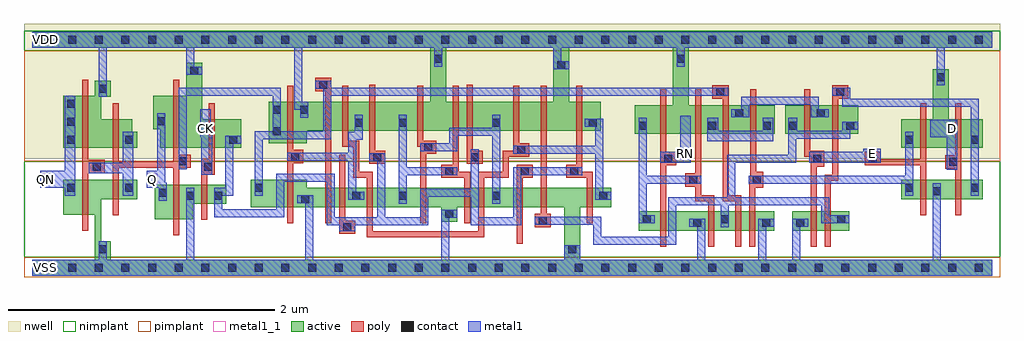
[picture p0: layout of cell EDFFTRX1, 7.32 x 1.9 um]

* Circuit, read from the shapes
.subckt EDFFTRX1 CK D E Q QN RN VDD VSS
M1 VSS n1 QN VSS nfet w=0.26u l=0.045u
M2 n1 n2 VSS VSS nfet w=0.145u l=0.045u
M3 VSS n2 Q VSS nfet w=0.26u l=0.045u
M4 n3 CK VSS VSS nfet w=0.145u l=0.045u
M5 VSS n4 n2 VSS nfet w=0.205u l=0.045u
M6 n5 n2 VSS VSS nfet w=0.145u l=0.045u
M7 n4 n3 n5 VSS nfet w=0.145u l=0.045u
M8 n6 n7 n4 VSS nfet w=0.145u l=0.045u
M9 VSS n8 n6 VSS nfet w=0.145u l=0.045u
M10 n9 n6 VSS VSS nfet w=0.145u l=0.045u
M11 n8 n7 n9 VSS nfet w=0.145u l=0.045u
M12 n10 n3 n8 VSS nfet w=0.145u l=0.045u
M13 VSS n11 n10 VSS nfet w=0.145u l=0.045u
M14 n7 n3 VSS VSS nfet w=0.145u l=0.045u
M15 VSS RN n12 VSS nfet w=0.145u l=0.045u
M16 n11 n12 VSS VSS nfet w=0.145u l=0.045u
M17 n13 n2 n11 VSS nfet w=0.145u l=0.045u
M18 VSS n14 n13 VSS nfet w=0.145u l=0.045u
M19 n15 E VSS VSS nfet w=0.145u l=0.045u
M20 n11 n16 n15 VSS nfet w=0.145u l=0.045u
M21 VSS E n14 VSS nfet w=0.145u l=0.045u
M22 n16 D VSS VSS nfet w=0.145u l=0.045u
M23 VDD n1 QN VDD pfet w=0.39u l=0.045u
M24 n1 n2 VDD VDD pfet w=0.215u l=0.045u
M25 VDD n2 Q VDD pfet w=0.39u l=0.045u
M26 n3 CK VDD VDD pfet w=0.215u l=0.045u
M27 VDD n4 n2 VDD pfet w=0.31u l=0.045u
M28 n17 n2 VDD VDD pfet w=0.215u l=0.045u
M29 n4 n7 n17 VDD pfet w=0.215u l=0.045u
M30 n6 n3 n4 VDD pfet w=0.215u l=0.045u
M31 VDD n8 n6 VDD pfet w=0.215u l=0.045u
M32 n18 n6 VDD VDD pfet w=0.215u l=0.045u
M33 n8 n3 n18 VDD pfet w=0.215u l=0.045u
M34 n19 n7 n8 VDD pfet w=0.215u l=0.045u
M35 VDD n11 n19 VDD pfet w=0.215u l=0.045u
M36 n7 n3 VDD VDD pfet w=0.215u l=0.045u
M37 VDD RN n12 VDD pfet w=0.215u l=0.045u
M38 n20 n12 VDD VDD pfet w=0.215u l=0.045u
M39 n21 n2 n20 VDD pfet w=0.215u l=0.045u
M40 n20 n14 n21 VDD pfet w=0.215u l=0.045u
M41 n21 E n11 VDD pfet w=0.215u l=0.045u
M42 n11 n16 n21 VDD pfet w=0.215u l=0.045u
M43 VDD E n14 VDD pfet w=0.215u l=0.045u
M44 n16 D VDD VDD pfet w=0.215u l=0.045u
.ends

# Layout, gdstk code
import gdstk
lib = gdstk.Library(unit=1e-6, precision=5e-10)
def R(c, l, rs):  # rectangles x0, y0, x1, y1
    for r in rs: c.add(gdstk.rectangle(r[:2], r[2:], *l))
def A(c, l, x, y, w, h, nx, ny, dx, dy):  # array of equal rectangles
    R(c, l, [(x+i*dx, y+j*dy, x+i*dx+w, y+j*dy+h) for i in range(nx) for j in range(ny)])
def P(c, l, *ps):  # polygons
    for p in ps: c.add(gdstk.Polygon(p, *l))
active = (1, 0)
nwell = (2, 0)
poly = (3, 0)
nimplant = (4, 0)
pimplant = (5, 0)
contact = (6, 0)
metal1 = (7, 0)
metal1_1 = (7, 1)

edfftrx1 = lib.new_cell('EDFFTRX1')
R(edfftrx1, active, [(4.55,0.28,5.565,0.425), (5.7,0.28,6.13,0.425), (6.52,0.515,7.13,0.66), (5.65,1.005,6.195,1.22)])
P(edfftrx1, active, [(0,1.77),(7.2,1.77),(7.2,1.65),(4.925,1.65),(4.925,1.22),(5.57,1.22),(5.57,1.005),(4.52,1.005),(4.52,1.22),(4.805,1.22),(4.805,1.65),(4.03,1.65),(4.03,1.245),(4.265,1.245),(4.265,1.03),(2.06,1.03),(2.06,0.935),(1.775,0.935),(1.775,1.245),(2.985,1.245),(2.985,1.65),(3.105,1.65),(3.105,1.245),(3.91,1.245),(3.91,1.65),(0,1.65)],
  [(0.47,1.405),(0.59,1.405),(0.59,1.285),(0.52,1.285),(0.52,1.115),(0.75,1.115),(0.75,1.02),(0.79,1.02),(0.79,0.9),(0.235,0.9),(0.235,1.29),(0.47,1.29)],
  [(1.155,1.54),(1.275,1.54),(1.275,1.115),(1.57,1.115),(1.57,0.9),(0.96,0.9),(0.96,1.04),(0.91,1.04),(0.91,1.29),(1.155,1.29)],
  [(6.755,1.49),(6.875,1.49),(6.875,1.115),(7.13,1.115),(7.13,0.9),(6.52,0.9),(6.52,1.115),(6.755,1.115)],
  [(0.235,0.66),(0.79,0.66),(0.79,0.515),(0.52,0.515),(0.52,0.2),(0.59,0.2),(0.59,0.06),(3.99,0.06),(3.99,0.455),(3.19,0.455),(3.19,0.345),(3.07,0.345),(3.07,0.455),(1.64,0.455),(1.64,0.66),(2.06,0.66),(2.06,0.6),(4.345,0.6),(4.345,0.455),(4.11,0.455),(4.11,0.06),(7.2,0.06),(7.2,-0.06),(0,-0.06),(0,0.06),(0.47,0.06),(0.47,0.4),(0.235,0.4)],
  [(0.92,0.625),(1.455,0.625),(1.455,0.48),(1.205,0.48),(1.205,0.365),(0.92,0.365)])
R(edfftrx1, nwell, [(-0.06,0.82,7.26,1.83)])
P(edfftrx1, poly, [(0.375,1.41),(0.42,1.41),(0.42,0.81),(0.545,0.81),(0.545,0.71),(0.42,0.71),(0.42,0.28),(0.375,0.28)],
  [(0.605,1.235),(0.65,1.235),(0.65,0.795),(1.06,0.795),(1.06,1.41),(1.105,1.41),(1.105,0.85),(1.19,0.85),(1.19,0.75),(1.105,0.75),(1.105,0.245),(1.06,0.245),(1.06,0.75),(0.65,0.75),(0.65,0.395),(0.605,0.395)],
  [(2.125,1.425),(2.245,1.425),(2.245,0.335),(2.2,0.335),(2.2,1.325),(2.125,1.325)],
  [(1.325,1.235),(1.37,1.235),(1.37,0.7),(1.315,0.7),(1.315,0.36),(1.27,0.36),(1.27,0.82),(1.325,0.82)],
  [(1.915,1.365),(1.96,1.365),(1.96,0.885),(2.035,0.885),(2.035,0.785),(1.96,0.785),(1.96,0.335),(1.915,0.335)],
  [(2.325,1.365),(2.37,1.365),(2.37,0.955),(2.455,0.955),(2.455,0.72),(2.555,0.72),(2.555,0.275),(3.345,0.275),(3.345,0.72),(3.53,0.72),(3.53,0.88),(3.61,0.88),(3.61,1.365),(3.655,1.365),(3.655,0.935),(3.73,0.935),(3.73,0.835),(3.575,0.835),(3.575,0.675),(3.39,0.675),(3.39,0.23),(2.51,0.23),(2.51,0.675),(2.41,0.675),(2.41,0.91),(2.325,0.91)],
  [(2.53,1.375),(2.575,1.375),(2.575,0.88),(2.65,0.88),(2.65,0.78),(2.53,0.78)],
  [(2.89,1.365),(2.935,1.365),(2.935,0.955),(3.03,0.955),(3.03,0.855),(2.955,0.855),(2.955,0.335),(2.91,0.335),(2.91,0.91),(2.89,0.91)],
  [(3.155,1.365),(3.2,1.365),(3.2,0.72),(3.285,0.72),(3.285,0.335),(3.24,0.335),(3.24,0.675),(3.07,0.675),(3.07,0.775),(3.155,0.775)],
  [(3.26,1.375),(3.305,1.375),(3.305,0.88),(3.38,0.88),(3.38,0.78),(3.26,0.78)],
  [(3.815,1.365),(3.86,1.365),(3.86,0.405),(3.89,0.405),(3.89,0.305),(3.77,0.305),(3.77,0.405),(3.815,0.405)],
  [(4.08,1.365),(4.125,1.365),(4.125,0.72),(4.205,0.72),(4.205,0.335),(4.16,0.335),(4.16,0.675),(4.005,0.675),(4.005,0.775),(4.08,0.775)],
  [(4.71,1.34),(4.755,1.34),(4.755,0.87),(4.83,0.87),(4.83,0.77),(4.755,0.77),(4.755,0.16),(4.71,0.16)],
  [(5.1,1.37),(5.225,1.37),(5.225,0.545),(5.32,0.545),(5.32,0.16),(5.275,0.16),(5.275,0.5),(5.18,0.5),(5.18,1.27),(5.1,1.27)],
  [(4.975,1.34),(5.02,1.34),(5.02,0.545),(5.115,0.545),(5.115,0.16),(5.07,0.16),(5.07,0.5),(4.975,0.5),(4.975,0.61),(4.9,0.61),(4.9,0.71),(4.975,0.71)],
  [(6,1.37),(6.12,1.37),(6.12,1.27),(6.045,1.27),(6.045,0.655),(5.99,0.655),(5.99,0.16),(5.945,0.16),(5.945,0.7),(6,0.7)],
  [(5.385,1.34),(5.43,1.34),(5.43,0.72),(5.485,0.72),(5.485,0.6),(5.425,0.6),(5.425,0.16),(5.38,0.16),(5.38,0.645),(5.385,0.645)],
  [(5.79,1.34),(5.835,1.34),(5.835,0.88),(5.94,0.88),(5.94,0.76),(5.885,0.76),(5.885,0.16),(5.84,0.16),(5.84,0.835),(5.79,0.835)],
  [(6.245,0.87),(6.365,0.87),(6.365,0.815),(6.66,0.815),(6.66,1.235),(6.705,1.235),(6.705,0.395),(6.66,0.395),(6.66,0.77),(6.245,0.77)],
  [(6.925,1.235),(6.97,1.235),(6.97,0.395),(6.925,0.395),(6.925,0.745),(6.85,0.745),(6.85,0.845),(6.925,0.845)],
  [(2.305,0.85),(2.35,0.85),(2.35,0.355),(2.425,0.355),(2.425,0.255),(2.305,0.255)],
  [(3.635,0.775),(3.755,0.775),(3.755,0.675),(3.68,0.675),(3.68,0.18),(3.635,0.18)])
R(edfftrx1, nimplant, [(-0.06,0.08,7.26,0.8), (-0.06,1.63,7.26,1.78)])
R(edfftrx1, pimplant, [(-0.06,-0.07,7.26,0.08), (-0.06,0.8,7.26,1.63)])
A(edfftrx1, contact, 0.07, -0.03, 0.06, 0.06, 36, 2, 0.2, 1.71)
A(edfftrx1, contact, 0.265, 0.93, 0.06, 0.06, 1, 3, 0, 0.135)
R(edfftrx1, contact, [(0.5,0.11,0.56,0.17), (4.02,0.11,4.08,0.17), (2.335,0.275,2.395,0.335), (4.96,0.31,5.02,0.37), (5.475,0.31,5.535,0.37), (5.73,0.31,5.79,0.37), (3.8,0.325,3.86,0.385), (4.58,0.335,4.64,0.395), (5.165,0.335,5.225,0.395), (6.04,0.335,6.1,0.395), (3.1,0.375,3.16,0.435), (2.02,0.485,2.08,0.545), (1.155,0.51,1.215,0.57), (1.365,0.51,1.425,0.57), (2.4,0.51,2.46,0.57), (2.75,0.51,2.81,0.57), (3.45,0.51,3.51,0.57), (4.255,0.51,4.315,0.57), (0.95,0.535,1.01,0.595), (6.755,0.545,6.815,0.605), (0.265,0.57,0.325,0.63), (0.7,0.57,0.76,0.63), (1.67,0.57,1.73,0.63), (6.55,0.57,6.61,0.63), (7.04,0.57,7.1,0.63), (4.93,0.63,4.99,0.69), (5.405,0.63,5.465,0.69), (3.1,0.695,3.16,0.755), (3.665,0.695,3.725,0.755), (4.035,0.695,4.095,0.755), (0.455,0.73,0.515,0.79), (1.29,0.73,1.35,0.79), (6.88,0.765,6.94,0.825), (1.1,0.77,1.16,0.83), (4.74,0.79,4.8,0.85), (5.86,0.79,5.92,0.85), (6.275,0.79,6.335,0.85), (2.56,0.8,2.62,0.86), (3.29,0.8,3.35,0.86), (1.945,0.805,2.005,0.865), (3.64,0.855,3.7,0.915), (2.94,0.875,3,0.935), (0.7,0.93,0.76,0.99), (1.48,0.93,1.54,0.99), (6.55,0.93,6.61,0.99), (7.04,0.93,7.1,0.99), (1.805,0.995,1.865,1.055), (4.55,1.035,4.61,1.095), (5.07,1.035,5.13,1.095), (5.48,1.035,5.54,1.095), (5.68,1.035,5.74,1.095), (6.105,1.035,6.165,1.095), (2.42,1.06,2.48,1.12), (2.75,1.06,2.81,1.12), (3.45,1.06,3.51,1.12), (4.175,1.06,4.235,1.12), (0.94,1.07,1,1.13), (5.275,1.13,5.335,1.19), (5.885,1.13,5.945,1.19), (1.805,1.155,1.865,1.215), (2.01,1.155,2.07,1.215), (5.13,1.29,5.19,1.35), (6.03,1.29,6.09,1.35), (0.5,1.315,0.56,1.375), (2.155,1.345,2.215,1.405), (6.785,1.4,6.845,1.46), (1.185,1.45,1.245,1.51), (3.94,1.49,4,1.55), (3.015,1.54,3.075,1.6), (4.835,1.54,4.895,1.6)])
P(edfftrx1, metal1, [(0,1.77),(7.2,1.77),(7.2,1.65),(6.845,1.65),(6.845,1.37),(6.785,1.37),(6.785,1.65),(4.895,1.65),(4.895,1.51),(4.835,1.51),(4.835,1.65),(3.97,1.65),(3.97,1.55),(4.03,1.55),(4.03,1.49),(3.91,1.49),(3.91,1.65),(3.075,1.65),(3.075,1.51),(3.015,1.51),(3.015,1.65),(2.025,1.65),(2.025,1.245),(2.07,1.245),(2.07,1.125),(2.01,1.125),(2.01,1.185),(1.965,1.185),(1.965,1.65),(1.215,1.65),(1.215,1.51),(1.275,1.51),(1.275,1.45),(1.155,1.45),(1.155,1.65),(0.56,1.65),(0.56,1.285),(0.5,1.285),(0.5,1.65),(0,1.65)],
  [(0.245,1.29),(0.325,1.29),(0.325,0.54),(0.245,0.54),(0.245,0.6),(0.06,0.6),(0.06,0.73),(0.245,0.73)],
  [(0.94,1.16),(1,1.16),(1,0.64),(1.01,0.64),(1.01,0.505),(0.95,0.505),(0.95,0.6),(0.86,0.6),(0.86,0.73),(0.94,0.73)],
  [(2.125,1.405),(2.245,1.405),(2.245,1.35),(5.22,1.35),(5.22,1.29),(2.245,1.29),(2.245,0.965),(1.73,0.965),(1.73,0.54),(1.67,0.54),(1.67,1.025),(1.805,1.025),(1.805,1.29),(1.16,1.29),(1.16,0.74),(1.1,0.74),(1.1,1.35),(1.865,1.35),(1.865,1.025),(2.185,1.025),(2.185,1.345),(2.125,1.345)],
  [(6,1.35),(6.135,1.35),(6.135,1.27),(7.1,1.27),(7.1,0.54),(7.04,0.54),(7.04,1.21),(6.075,1.21),(6.075,1.29),(6,1.29)],
  [(0.68,1.02),(0.76,1.02),(0.76,0.54),(0.68,0.54),(0.68,0.71),(0.425,0.71),(0.425,0.79),(0.68,0.79)],
  [(1.45,0.99),(1.57,0.99),(1.57,0.93),(1.51,0.93),(1.51,0.54),(1.425,0.54),(1.425,0.44),(1.83,0.44),(1.83,0.705),(2.27,0.705),(2.27,0.38),(2.59,0.38),(2.59,0.8),(2.53,0.8),(2.53,0.86),(2.65,0.86),(2.65,0.38),(2.91,0.38),(2.91,0.595),(3.29,0.595),(3.29,0.89),(3.35,0.89),(3.35,0.38),(3.61,0.38),(3.61,0.755),(4.125,0.755),(4.125,0.695),(3.67,0.695),(3.67,0.32),(3.29,0.32),(3.29,0.535),(2.97,0.535),(2.97,0.32),(2.425,0.32),(2.425,0.275),(2.305,0.275),(2.305,0.32),(2.21,0.32),(2.21,0.645),(1.89,0.645),(1.89,0.38),(1.365,0.38),(1.365,0.6),(1.45,0.6)],
  [(1.26,1.19),(1.34,1.19),(1.34,1.06),(1.35,1.06),(1.35,0.7),(1.27,0.7),(1.27,0.98),(1.26,0.98)],
  [(0.5,0.2),(0.56,0.2),(0.56,0.06),(1.155,0.06),(1.155,0.6),(1.215,0.6),(1.215,0.06),(2.05,0.06),(2.05,0.485),(1.99,0.485),(1.99,0.545),(2.11,0.545),(2.11,0.06),(3.07,0.06),(3.07,0.435),(3.19,0.435),(3.19,0.375),(3.13,0.375),(3.13,0.06),(3.99,0.06),(3.99,0.17),(4.11,0.17),(4.11,0.06),(4.99,0.06),(4.99,0.31),(4.93,0.31),(4.93,0.37),(5.05,0.37),(5.05,0.06),(5.445,0.06),(5.445,0.37),(5.565,0.37),(5.565,0.31),(5.505,0.31),(5.505,0.06),(5.7,0.06),(5.7,0.37),(5.82,0.37),(5.82,0.31),(5.76,0.31),(5.76,0.06),(6.755,0.06),(6.755,0.635),(6.815,0.635),(6.815,0.06),(7.2,0.06),(7.2,-0.06),(0,-0.06),(0,0.06),(0.5,0.06)],
  [(5.32,1.285),(5.9,1.285),(5.9,1.19),(5.975,1.19),(5.975,1.13),(5.84,1.13),(5.84,1.225),(5.38,1.225),(5.38,1.13),(5.245,1.13),(5.245,1.19),(5.32,1.19)],
  [(2.42,1.15),(2.48,1.15),(2.48,0.96),(2.43,0.96),(2.43,0.57),(2.49,0.57),(2.49,0.51),(2.37,0.51),(2.37,0.805),(1.915,0.805),(1.915,0.865),(2.37,0.865),(2.37,1.02),(2.42,1.02)],
  [(2.75,1.15),(2.81,1.15),(2.81,0.755),(3.19,0.755),(3.19,0.695),(2.81,0.695),(2.81,0.48),(2.75,0.48)],
  [(3.45,1.15),(3.51,1.15),(3.51,0.48),(3.45,0.48),(3.45,0.99),(3.19,0.99),(3.19,0.875),(2.91,0.875),(2.91,0.935),(3.13,0.935),(3.13,1.05),(3.45,1.05)],
  [(4.145,1.12),(4.285,1.12),(4.285,0.57),(4.345,0.57),(4.345,0.51),(4.225,0.51),(4.225,0.855),(3.61,0.855),(3.61,0.915),(4.225,0.915),(4.225,1.06),(4.145,1.06)],
  [(4.55,1.125),(4.61,1.125),(4.61,0.69),(5.02,0.69),(5.02,0.63),(4.61,0.63),(4.61,0.395),(4.67,0.395),(4.67,0.335),(4.55,0.335)],
  [(5.065,1.125),(5.145,1.125),(5.145,1.03),(5.48,1.03),(5.48,1.125),(5.56,1.125),(5.56,0.95),(5.065,0.95)],
  [(4.86,1.14),(4.94,1.14),(4.94,0.79),(4.71,0.79),(4.71,0.87),(4.86,0.87)],
  [(5.67,1.125),(5.74,1.125),(5.74,1.03),(6.075,1.03),(6.075,1.095),(6.195,1.095),(6.195,1.035),(6.135,1.035),(6.135,0.97),(5.73,0.97),(5.73,0.79),(5.275,0.79),(5.275,0.53),(5.98,0.53),(5.98,0.395),(6.13,0.395),(6.13,0.335),(5.92,0.335),(5.92,0.47),(5.225,0.47),(5.225,0.305),(5.165,0.305),(5.165,0.47),(4.83,0.47),(4.83,0.175),(4.21,0.175),(4.21,0.325),(3.77,0.325),(3.77,0.385),(4.27,0.385),(4.27,0.235),(4.77,0.235),(4.77,0.53),(5.215,0.53),(5.215,0.85),(5.67,0.85)],
  [(6.235,0.895),(6.365,0.895),(6.365,0.79),(5.83,0.79),(5.83,0.87),(6.235,0.87)],
  [(6.55,1.02),(6.61,1.02),(6.61,0.54),(6.55,0.54),(6.55,0.63),(5.375,0.63),(5.375,0.69),(6.55,0.69)],
  [(6.735,1.11),(6.94,1.11),(6.94,0.735),(6.86,0.735),(6.86,0.98),(6.735,0.98)])
R(edfftrx1, metal1_1, [(0.06,-0.04,0.14,0.04), (0.06,0.625,0.14,0.705), (0.86,0.625,0.94,0.705), (4.86,0.815,4.94,0.895), (6.26,0.815,6.34,0.895), (1.26,1.005,1.34,1.085), (6.86,1.005,6.94,1.085), (0.06,1.67,0.14,1.75)])
edfftrx1.add(gdstk.Label('Q', (0.9,0.665), layer=7, texttype=1))
edfftrx1.add(gdstk.Label('QN', (0.1,0.665), layer=7, texttype=1))
edfftrx1.add(gdstk.Label('D', (6.9,1.045), layer=7, texttype=1))
edfftrx1.add(gdstk.Label('E', (6.3,0.855), layer=7, texttype=1))
edfftrx1.add(gdstk.Label('RN', (4.9,0.855), layer=7, texttype=1))
edfftrx1.add(gdstk.Label('CK', (1.3,1.045), layer=7, texttype=1))
edfftrx1.add(gdstk.Label('VDD', (0.1,1.71), layer=7, texttype=1))
edfftrx1.add(gdstk.Label('VSS', (0.1,0), layer=7, texttype=1))
edfftrx1.add(gdstk.Label('EDFFTRX1', (0,0), layer=63, texttype=0))

lib.write_gds('EDFFTRX1.gds')
